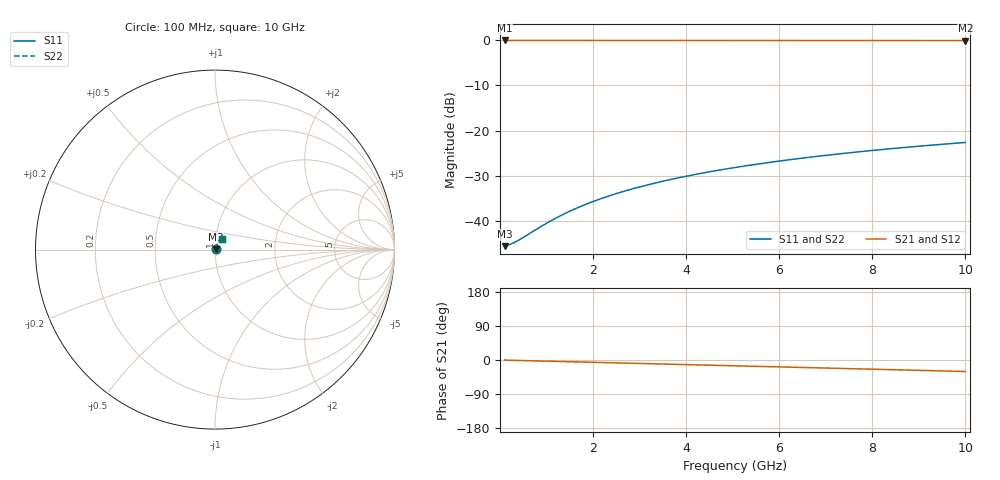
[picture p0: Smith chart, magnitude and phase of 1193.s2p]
# Hz S RI R 50.00
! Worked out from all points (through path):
!   100 points, 100 MHz to 10 GHz, reference 50 ohm
!   highest |S21| = -0.05 dB at 100 MHz (marker M1); lowest = -0.1 dB at 10 GHz (marker M2)
!   group delay of S21, straight-line fit = 8.43 ps
!   lowest |S11| = -45.6 dB at 100 MHz (marker M3), VSWR 1.01, Z = 50.5 + j0.0755 ohm
!   |S11| at or under -10 dB: start of sweep to end of sweep
!   |S22| runs from -45.6 to -22.6 dB; largest |S21 - S12| = 0
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1e8  0.00519 0.000747  0.9948 -0.00527  0.9948 -0.00527  0.00519 0.000747
2e8  0.00523 0.00149  0.9947 -0.0105  0.9947 -0.0105  0.00523 0.00149
3e8  0.00527 0.00224  0.9946 -0.0158  0.9946 -0.0158  0.00527 0.00224
4e8  0.00532 0.00298  0.9945 -0.0211  0.9945 -0.0211  0.00532 0.00298
9e8  0.00564 0.0067  0.9935 -0.0474  0.9935 -0.0474  0.00564 0.0067
1.2e9  0.00592 0.00892  0.9926 -0.0632  0.9926 -0.0632  0.00592 0.00892
1.5e9  0.00626 0.0111  0.9914 -0.0789  0.9914 -0.0789  0.00626 0.0111
1.8e9  0.00667 0.0133  0.9899 -0.0947  0.9899 -0.0947  0.00667 0.0133
2.1e9  0.00715 0.0155  0.9882 -0.1104  0.9882 -0.1104  0.00715 0.0155
2.5e9  0.0079 0.0184  0.9856 -0.1313  0.9856 -0.1313  0.0079 0.0184
2.9e9  0.00877 0.0213  0.9825 -0.1521  0.9825 -0.1521  0.00877 0.0213
3.4e9  0.01 0.0248  0.978 -0.1781  0.978 -0.1781  0.01 0.0248
3.8e9  0.0112 0.0275  0.9739 -0.1987  0.9739 -0.1987  0.0112 0.0275
4.2e9  0.0124 0.0302  0.9693 -0.2193  0.9693 -0.2193  0.0124 0.0302
4.6e9  0.0138 0.0329  0.9643 -0.2398  0.9643 -0.2398  0.0138 0.0329
5.1e9  0.0156 0.0361  0.9575 -0.2652  0.9575 -0.2652  0.0156 0.0361
5.9e9  0.019 0.041  0.9451 -0.3054  0.9451 -0.3054  0.019 0.041
6.7e9  0.0227 0.0456  0.931 -0.3451  0.931 -0.3451  0.0227 0.0456
7.5e9  0.0268 0.0499  0.9152 -0.3841  0.9152 -0.3841  0.0268 0.0499
8.4e9  0.0319 0.0543  0.8955 -0.4271  0.8955 -0.4271  0.0319 0.0543
9.2e9  0.0367 0.0577  0.8762 -0.4645  0.8762 -0.4645  0.0367 0.0577
1e10  0.0418 0.0608  0.8554 -0.501  0.8554 -0.501  0.0418 0.0608
